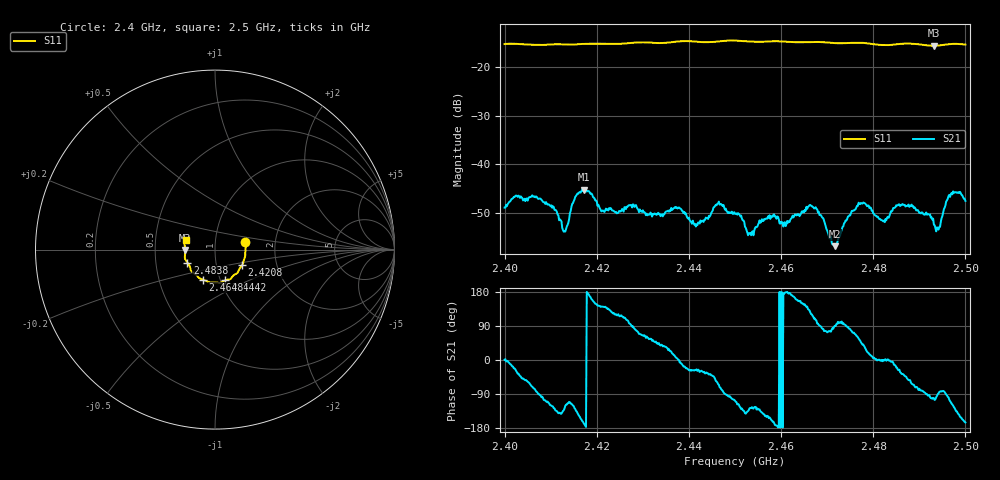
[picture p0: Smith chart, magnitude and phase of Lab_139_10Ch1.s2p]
# Hz S RI R 50
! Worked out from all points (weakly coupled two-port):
!   601 points, 2.4 GHz to 2.5 GHz, reference 50 ohm
!   highest |S21| = -45.29 dB at 2.4172 GHz (marker M1); lowest = -56.9 dB at 2.4717 GHz (marker M2)
!   lowest |S11| = -15.6 dB at 2.4932 GHz (marker M3), VSWR 1.40, Z = 35.8 - j0.0969 ohm
!   |S11| at or under -10 dB: start of sweep to end of sweep
!   S12 and S22 are empty: the file has one direction only
!   S11 on the Smith chart (normalised r, x): 2.4 GHz: 1.40, +0.12; 2.4208 GHz: 1.33, -0.24; 2.4442 GHz: 1.05, -0.37; 2.4648 GHz: 0.83, -0.29; 2.4838 GHz: 0.73, -0.11; 2.5 GHz: 0.72, +0.08
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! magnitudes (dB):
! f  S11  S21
! 2.4 GHz  -15.3  -49.0
! 2.4065 GHz  -15.4  -46.6
! 2.413 GHz  -15.3  -53.8
! 2.4167 GHz  -15.2  -45.5
! 2.4172 GHz  -15.2  -45.3
! 2.4208 GHz  -15.2  -49.4
! 2.4333 GHz  -15.0  -50.0
! 2.4442 GHz  -14.9  -51.3
! 2.4463 GHz  -14.7  -48.1
! 2.45 GHz  -14.5  -50.2
! 2.4532 GHz  -14.7  -54.3
! 2.4648 GHz  -14.9  -49.7
! 2.4667 GHz  -14.8  -48.6
! 2.4717 GHz  -15.1  -56.9
! 2.477 GHz  -15.0  -48.2
! 2.4833 GHz  -15.5  -51.1
! 2.4838 GHz  -15.4  -49.7
! 2.4882 GHz  -15.2  -48.6
! 2.4932 GHz  -15.6  -52.5
! 2.4942 GHz  -15.6  -53.5
! 2.4968 GHz  -15.2  -46.2
! 2.5 GHz  -15.4  -47.6
